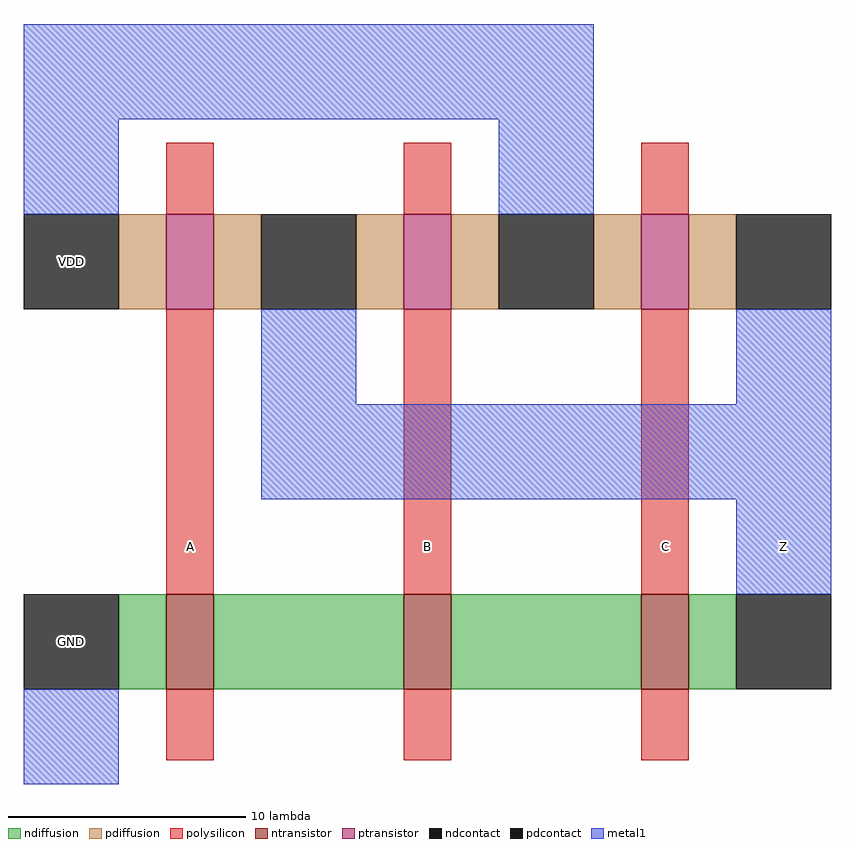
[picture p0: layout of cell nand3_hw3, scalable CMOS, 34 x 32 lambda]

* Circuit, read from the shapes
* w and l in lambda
.subckt nand3_hw3 A B C GND VDD Z
M1 n1 A GND VSUBS nfet w=4 l=2
M2 n2 B n1 VSUBS nfet w=4 l=2
M3 Z C n2 VSUBS nfet w=4 l=2
M4 Z A VDD NWELL pfet w=4 l=2
M5 VDD B Z NWELL pfet w=4 l=2
M6 Z C VDD NWELL pfet w=4 l=2
.ends

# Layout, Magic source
magic
tech scmos
<< ntransistor >>
rect 6 0 8 4
rect 16 0 18 4
rect 26 0 28 4
<< ptransistor >>
rect 6 16 8 20
rect 16 16 18 20
rect 26 16 28 20
<< ndiffusion >>
rect 4 0 6 4
rect 8 0 16 4
rect 18 0 26 4
rect 28 0 30 4
<< pdiffusion >>
rect 4 16 6 20
rect 8 16 10 20
rect 14 16 16 20
rect 18 16 20 20
rect 24 16 26 20
rect 28 16 30 20
<< ndcontact >>
rect 0 0 4 4
rect 30 0 34 4
<< pdcontact >>
rect 0 16 4 20
rect 10 16 14 20
rect 20 16 24 20
rect 30 16 34 20
<< polysilicon >>
rect 6 20 8 23
rect 16 20 18 23
rect 26 20 28 23
rect 6 4 8 16
rect 16 4 18 16
rect 26 4 28 16
rect 6 -3 8 0
rect 16 -3 18 0
rect 26 -3 28 0
<< metal1 >>
rect 0 24 24 28
rect 0 20 4 24
rect 20 20 24 24
rect 10 12 14 16
rect 30 12 34 16
rect 10 8 34 12
rect 30 4 34 8
rect 0 -4 4 0
<< labels >>
rlabel ndcontact 2 2 2 2 1 GND
rlabel pdcontact 2 18 2 18 1 VDD
rlabel metal1 32 6 32 6 7 Z
rlabel polysilicon 27 6 27 6 1 C
rlabel polysilicon 17 6 17 6 1 B
rlabel polysilicon 7 6 7 6 1 A
<< end >>
